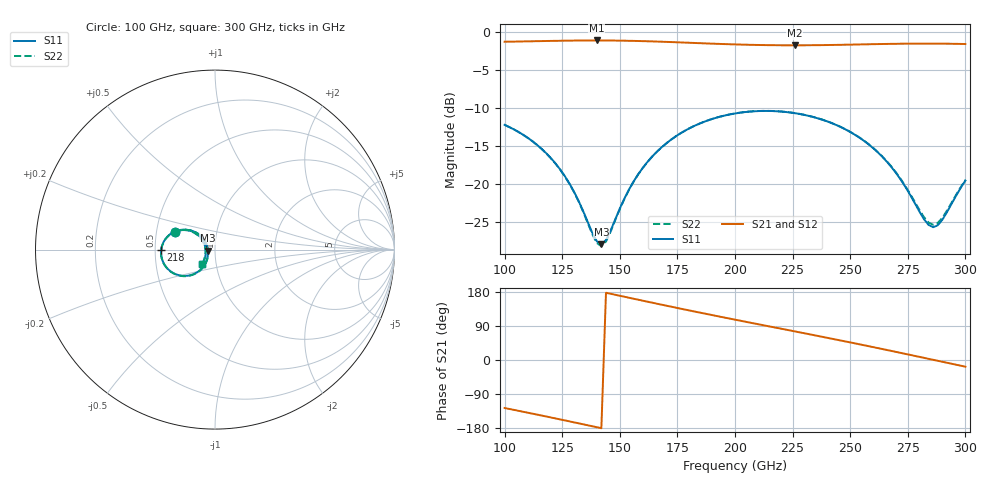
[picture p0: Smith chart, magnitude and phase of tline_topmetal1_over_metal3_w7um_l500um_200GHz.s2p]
#  GHZ S DB R 50
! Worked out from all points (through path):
!   101 points, 100 GHz to 300 GHz, reference 50 ohm
!   highest |S21| = -1.15 dB at 140 GHz (marker M1); lowest = -1.8 dB at 226 GHz (marker M2)
!   group delay of S21, straight-line fit = 3.46 ps
!   lowest |S11| = -28.0 dB at 142 GHz (marker M3), VSWR 1.08, Z = 46.2 - j0.474 ohm
!   |S11| at or under -10 dB: start of sweep to end of sweep
!   |S22| runs from -28.2 to -10.4 dB; largest |S21 - S12| = 1e-13
!   S11 on the Smith chart (normalised r, x): 100 GHz: 0.62, +0.13; 218 GHz: 0.54, -0.00; 300 GHz: 0.86, -0.13
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100  -12.26 156.6  -1.31 -126.7  -1.31 -126.7  -12.26 156.5
110  -13.95 146.6  -1.26 -139.0  -1.26 -139.0  -13.96 146.5
120  -16.61 138.7  -1.21 -151.5  -1.21 -151.5  -16.62 138.5
128  -19.91 136.4  -1.17 -161.8  -1.17 -161.8  -19.95 136.0
134  -23.53 142.4  -1.15 -169.6  -1.15 -169.6  -23.62 141.9
140  -27.58 170.7  -1.15 -177.4  -1.15 -177.4  -27.81 170.6
142  -27.98 -172.6  -1.15 -180.0  -1.15 -180.0  -28.23 -172.2
144  -27.42 -156.3  -1.15 177.4  -1.15 177.4  -27.62 -155.4
156  -19.70 -124.4  -1.20 161.7  -1.20 161.7  -19.72 -123.6
168  -15.25 -129.8  -1.31 146.2  -1.31 146.2  -15.25 -129.2
184  -12.17 -144.6  -1.49 126.0  -1.49 126.0  -12.17 -144.0
200  -10.76 -160.9  -1.67 106.5  -1.67 106.5  -10.75 -160.4
218  -10.46 -179.4  -1.77 85.0  -1.77 85.0  -10.45 -178.8
226  -10.72 172.6  -1.78 75.4  -1.78 75.4  -10.71 173.1
234  -11.23 164.6  -1.77 65.9  -1.77 65.9  -11.22 165.3
252  -13.55 148.1  -1.68 43.9  -1.68 43.9  -13.53 148.9
260  -15.33 142.3  -1.63 33.9  -1.63 33.9  -15.29 143.2
268  -17.85 139.2  -1.59 23.8  -1.59 23.8  -17.79 140.3
282  -24.66 160.9  -1.56 5.7  -1.56 5.7  -24.40 162.0
286  -25.73 -176.7  -1.56 0.5  -1.56 0.5  -25.41 -176.5
290  -24.75 -154.0  -1.57 -4.7  -1.57 -4.7  -24.49 -154.6
300  -19.59 -132.2  -1.61 -17.7  -1.61 -17.7  -19.52 -132.8
